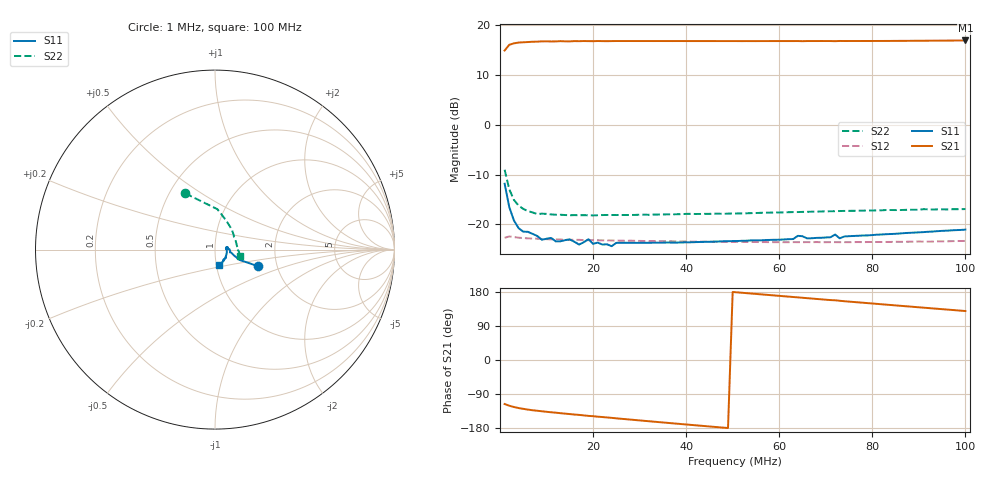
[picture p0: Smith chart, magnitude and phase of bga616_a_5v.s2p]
# HZ S RI R 50
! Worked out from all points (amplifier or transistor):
!   100 points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, 1 MHz to 100 MHz, reference 50 ohm
!   highest |S21| = 17.0 dB at 100 MHz (marker M1)
!   |S21| within 3 dB of that: start of sweep to end of sweep
!   unconditionally stable (mu >= 1): start of sweep to end of sweep
!   at 17 MHz: K = 1.26, MAG = 16.9 dB, |S12| = -23.1 dB
!   at 51 MHz: K = 1.30, MAG = 16.9 dB, |S12| = -23.5 dB
!   at 100 MHz: K = 1.26, MAG = 17.1 dB, |S12| = -23.3 dB
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1000001  0.2389 -0.0922  -2.46 -5.005  0.0682 0.0271  -0.1655 0.3131
2000001  0.1375 -0.0577  -3.248 -5.478  0.0748 0.0115  0.0131 0.2252
3000001  0.1049 -0.0317  -3.69 -5.454  0.0745 0.0056  0.0596 0.1659
4000001  0.0903 -0.0165  -4.014 -5.369  0.0735 0.00269  0.0819 0.1309
6000001  0.084 -0.00609  -4.441 -5.132  0.0724 -0.000526  0.1004 0.0919
7000001  0.0804 0.00227  -4.622 -5.032  0.072 -0.00111  0.1045 0.0805
1e7  0.0708 0.0119  -5.021 -4.733  0.071 -0.00288  0.1136 0.058
1.8e7  0.0646 0.014  -5.77 -3.865  0.0694 -0.00455  0.1196 0.0314
1.9e7  0.0698 0.0129  -5.845 -3.73  0.0693 -0.00469  0.12 0.0295
2.4e7  0.0602 0.0051  -6.164 -3.188  0.0687 -0.00528  0.1224 0.0217
2.5e7  0.0646 0.0097  -6.243 -3.049  0.0686 -0.00519  0.1226 0.02
3.4e7  0.0655 0.000899  -6.669 -1.943  0.0677 -0.00563  0.1251 0.0105
4.2e7  0.0658 -0.00862  -6.879 -0.9363  0.0669 -0.00582  0.1272 0.00336
5.1e7  0.0647 -0.0214  -6.936 0.1871  0.0666 -0.00594  0.1288 -0.00271
5.9e7  0.0618 -0.033  -6.842 1.169  0.0661 -0.0057  0.1314 -0.00839
6.7e7  0.0574 -0.0445  -6.612 2.128  0.066 -0.00547  0.1335 -0.0137
7.1e7  0.0546 -0.0504  -6.448 2.587  0.0661 -0.00546  0.1345 -0.0167
7.2e7  0.0451 -0.065  -6.402 2.636  0.0662 -0.00517  0.1346 -0.0172
7.3e7  0.0476 -0.0547  -6.371 2.796  0.066 -0.00525  0.135 -0.0181
8.4e7  0.042 -0.0682  -5.71 3.988  0.0665 -0.00503  0.137 -0.0263
9.1e7  0.0332 -0.0768  -5.208 4.673  0.067 -0.0049  0.1392 -0.0293
1e8  0.0201 -0.0863  -4.451 5.454  0.068 -0.00522  0.1376 -0.0372
